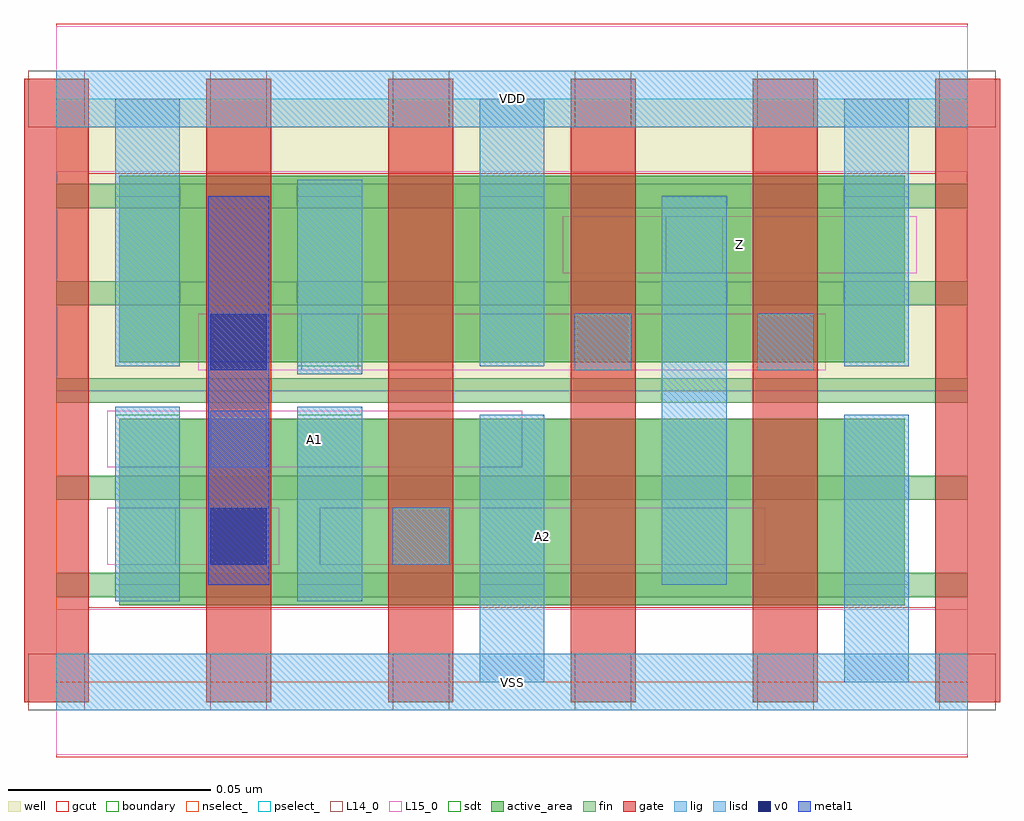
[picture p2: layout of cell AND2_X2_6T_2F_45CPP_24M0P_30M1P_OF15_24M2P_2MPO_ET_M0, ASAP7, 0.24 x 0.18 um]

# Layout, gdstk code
import gdstk
lib = gdstk.Library(unit=1e-6, precision=2.5e-10)
def R(c, l, rs):  # rectangles x0, y0, x1, y1
    for r in rs: c.add(gdstk.rectangle(r[:2], r[2:], *l))
def A(c, l, x, y, w, h, nx, ny, dx, dy):  # array of equal rectangles
    R(c, l, [(x+i*dx, y+j*dy, x+i*dx+w, y+j*dy+h) for i in range(nx) for j in range(ny)])
well = (1, 0)
fin = (2, 0)
gate = (7, 0)
gcut = (10, 0)
active_area = (11, 0)
nselect_ = (12, 0)
pselect_ = (13, 0)
L14_0 = (14, 0)
L15_0 = (15, 0)
lig = (16, 0)
lisd = (17, 0)
v0 = (18, 0)
metal1 = (19, 0)
sdt = (88, 0)
boundary = (100, 0)

and2_x2_6t_2f_45cpp_24m0 = lib.new_cell('AND2_X2_6T_2F_45CPP_24M0P_30M1P_OF15_24M2P_2MPO_ET_M0')
R(and2_x2_6t_2f_45cpp_24m0, well, [(0,0.072,0.225,0.144)])
A(and2_x2_6t_2f_45cpp_24m0, fin, 0, 0.021, 0.225, 0.006, 1, 5, 0, 0.024)
A(and2_x2_6t_2f_45cpp_24m0, gate, -0.008, -0.005, 0.016, 0.154, 6, 1, 0.045, 0)
R(and2_x2_6t_2f_45cpp_24m0, gcut, [(0,-0.0185,0.225,0.0185), (-0.008,-0.005,0.008,0.149), (0.217,-0.005,0.233,0.149), (0,0.1255,0.225,0.1625)])
A(and2_x2_6t_2f_45cpp_24m0, active_area, 0.0155, 0.019, 0.059, 0.046, 4, 2, 0.045, 0.06)
R(and2_x2_6t_2f_45cpp_24m0, nselect_, [(0,0,0.225,0.072)])
R(and2_x2_6t_2f_45cpp_24m0, pselect_, [(0,0.072,0.225,0.144)])
A(and2_x2_6t_2f_45cpp_24m0, L14_0, -0.007, -0.007, 0.014, 0.014, 6, 2, 0.045, 0.144)
R(and2_x2_6t_2f_45cpp_24m0, L14_0, [(0.0155,0.029,0.0295,0.043), (0.083,0.029,0.097,0.043), (0.038,0.053,0.052,0.067), (0.0605,0.077,0.0745,0.091), (0.128,0.077,0.142,0.091), (0.173,0.077,0.187,0.091), (0.1505,0.101,0.1645,0.115)])
R(and2_x2_6t_2f_45cpp_24m0, L15_0, [(0,-0.018,0.225,0.018), (0.0125,0.029,0.055,0.043), (0.065,0.029,0.175,0.043), (0.0125,0.053,0.115,0.067), (0.035,0.077,0.19,0.091), (0.125,0.101,0.2125,0.115), (0,0.126,0.225,0.162)])
R(and2_x2_6t_2f_45cpp_24m0, lig, [(0,-0.007,0.225,0.007), (0.083,0.029,0.097,0.043), (0.038,0.053,0.052,0.067), (0.128,0.077,0.142,0.091), (0.173,0.077,0.187,0.091), (0,0.137,0.225,0.151)])
A(and2_x2_6t_2f_45cpp_24m0, lisd, 0.0145, 0.078, 0.016, 0.066, 3, 1, 0.09, 0)
R(and2_x2_6t_2f_45cpp_24m0, lisd, [(0.1045,0,0.1205,0.066), (0.1945,0,0.2105,0.066), (0.0145,0.02,0.0305,0.068), (0.0595,0.02,0.0755,0.068), (0.1495,0.024,0.1655,0.12), (0.0595,0.076,0.0755,0.124)])
R(and2_x2_6t_2f_45cpp_24m0, v0, [(0.038,0.029,0.052,0.043), (0.038,0.077,0.052,0.091)])
R(and2_x2_6t_2f_45cpp_24m0, metal1, [(0.0375,0.024,0.0525,0.12)])
A(and2_x2_6t_2f_45cpp_24m0, sdt, 0.0145, 0.024, 0.016, 0.042, 3, 2, 0.045, 0.054)
R(and2_x2_6t_2f_45cpp_24m0, sdt, [(0.1495,0.024,0.1655,0.12), (0.1945,0.024,0.2105,0.066), (0.1945,0.078,0.2105,0.12)])
R(and2_x2_6t_2f_45cpp_24m0, boundary, [(0,0,0.225,0.144)])
and2_x2_6t_2f_45cpp_24m0.add(gdstk.Label('Z', (0.1688,0.108), layer=15, texttype=251))
and2_x2_6t_2f_45cpp_24m0.add(gdstk.Label('A1', (0.0638,0.06), layer=15, texttype=251))
and2_x2_6t_2f_45cpp_24m0.add(gdstk.Label('A2', (0.12,0.036), layer=15, texttype=251))
and2_x2_6t_2f_45cpp_24m0.add(gdstk.Label('VDD', (0.1125,0.144), layer=15, texttype=251))
and2_x2_6t_2f_45cpp_24m0.add(gdstk.Label('VSS', (0.1125,0), layer=15, texttype=251))
and2_x2_6t_2f_45cpp_24m0.add(gdstk.Label('VDD', (0.1125,0.144), layer=1, texttype=251))
and2_x2_6t_2f_45cpp_24m0.add(gdstk.Label('VSS', (0.1125,0), layer=3, texttype=251))

lib.write_gds('AND2_X2_6T_2F_45CPP_24M0P_30M1P_OF15_24M2P_2MPO_ET_M0.gds')
